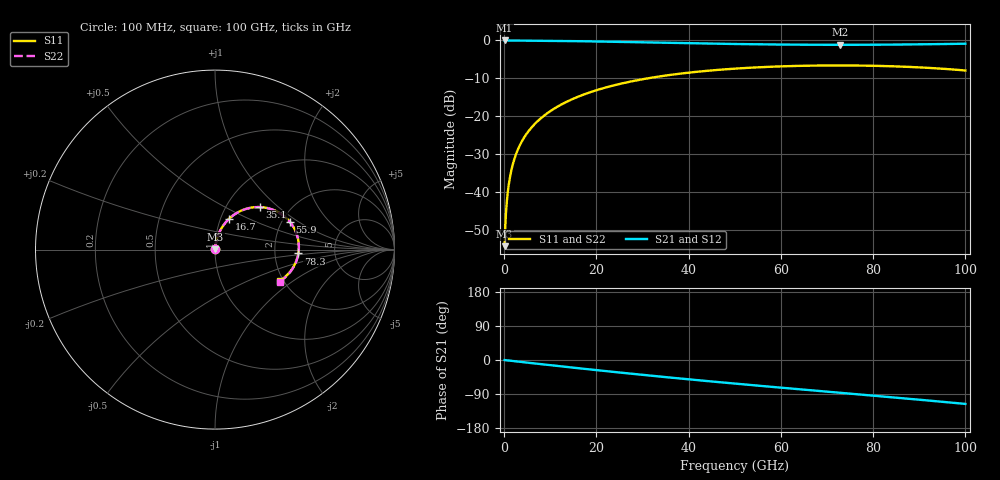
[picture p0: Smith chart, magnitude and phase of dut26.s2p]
! Touchstone file exported from HFSS 2026.1.0
!  File:  C:/ffzhzh/LocalFiles/Ansys_Project_Files/temp_train_RDL_26_1783497906_41296.aedt
!  Generated:  04:06:19 PM Jul  8, 2026
!  Design:  RDL
!  Project:  temp_train_RDL_26_1783497906_41296
! Variables:
!  h_bsmrdl = 2um
!  h_ox = 20um
!  h_rdl = 5um
!  h_sub = 80um
!  h_tmrdl = 4.32um
!  h_tsv = 80um
!  h_via = 3um
!  l_bsmrdl = 300um
!  l_sub = 783.86um
!  l_tmrdl = 383.86um
!  m_sub = 200um
!  pitch = 51.13um
!  r_tsv = 6um
!  s_tmrdl = 10um
!  w_bsmrdl = 18um
!  w_sub = 500um
!  w_tmrdl = 27.81um
!  x_tsv_center1 = 397.765um
!  x_tsv_center2 = 715.765um
!  x_tsv_center3 = 1127.435um
!  x_tsv_center4 = 1445.435um
!  x_tsv_center5 = 1857.105um
!  x_tsv_center6 = 2175.105um
# GHz S MA R 50.000000
! Terminal data exported
! Port[1] = TM_RDL1_1_T1
! Port[2] = TM_RDL1_1_T2
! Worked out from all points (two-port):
!   1000 points, 100 MHz to 100 GHz, reference 50 ohm
!   highest |S21| = -0.01 dB at 100 MHz (marker M1); lowest = -1.2 dB at 72.8 GHz (marker M2)
!   |S21| within 3 dB of the highest: start of sweep to end of sweep
!   lowest |S11| = -54.3 dB at 100 MHz (marker M3), VSWR 1.00, Z = 50.1 + j0.139 ohm
!   |S11| at or under -10 dB: start of sweep to 31.15 GHz
!   |S22| runs from -54.3 to -6.6 dB; largest |S21 - S12| = 1.6e-14
!   S11 on the Smith chart (normalised r, x): 100 MHz: 1.00, +0.00; 16.7 GHz: 1.10, +0.39; 35.1 GHz: 1.42, +0.77; 55.9 GHz: 2.20, +0.85; 78.3 GHz: 2.73, -0.15; 100 GHz: 1.92, -0.79
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0.1  0.001933 45.7  0.9987 -0.1  0.9987 -0.1  0.001933 45.7
! Gamma 0 0 0 0
! Port Impedance 50 0 50 0
0.8  0.01011 79.0  0.9982 -1.1  0.9982 -1.1  0.01011 79.0
1.1  0.01373 80.9  0.9981 -1.5  0.9981 -1.5  0.01373 80.9
1.4  0.01736 81.8  0.998 -2.0  0.998 -2.0  0.01736 81.8
1.9  0.02342 82.3  0.9977 -2.7  0.9977 -2.7  0.02342 82.3
2.4  0.02944 82.3  0.9973 -3.3  0.9973 -3.3  0.02944 82.3
3.9  0.0473 81.2  0.996 -5.4  0.996 -5.4  0.04731 81.1
6  0.07172 78.8  0.9937 -8.3  0.9937 -8.3  0.07172 78.8
8.8  0.1034 75.4  0.99 -12.0  0.99 -12.0  0.1034 75.4
12.4  0.1428 71.0  0.9842 -16.8  0.9842 -16.8  0.1428 70.9
16.7  0.1877 65.6  0.9759 -22.5  0.9759 -22.5  0.1877 65.6
16.8  0.1887 65.5  0.9757 -22.6  0.9757 -22.6  0.1887 65.5
24.2  0.259 56.4  0.9585 -32.0  0.9585 -32.0  0.259 56.3
33.4  0.3327 45.5  0.9348 -43.3  0.9348 -43.3  0.3327 45.3
35.1  0.3446 43.5  0.9305 -45.3  0.9305 -45.3  0.3446 43.3
50.1  0.4247 26.8  0.8966 -62.3  0.8966 -62.3  0.4247 26.5
55.9  0.4443 20.6  0.887 -68.6  0.887 -68.6  0.4443 20.3
66.7  0.465 9.3  0.8764 -80.1  0.8764 -80.1  0.465 9.0
72.8  0.4678 3.1  0.8747 -86.5  0.8747 -86.5  0.4678 2.7
78.3  0.4648 -2.6  0.8761 -92.3  0.8761 -92.3  0.4648 -3.1
83.4  0.4574 -7.9  0.8796 -97.7  0.8796 -97.7  0.4574 -8.4
100  0.401 -25.6  0.9049 -115.9  0.9049 -115.9  0.401 -26.3
